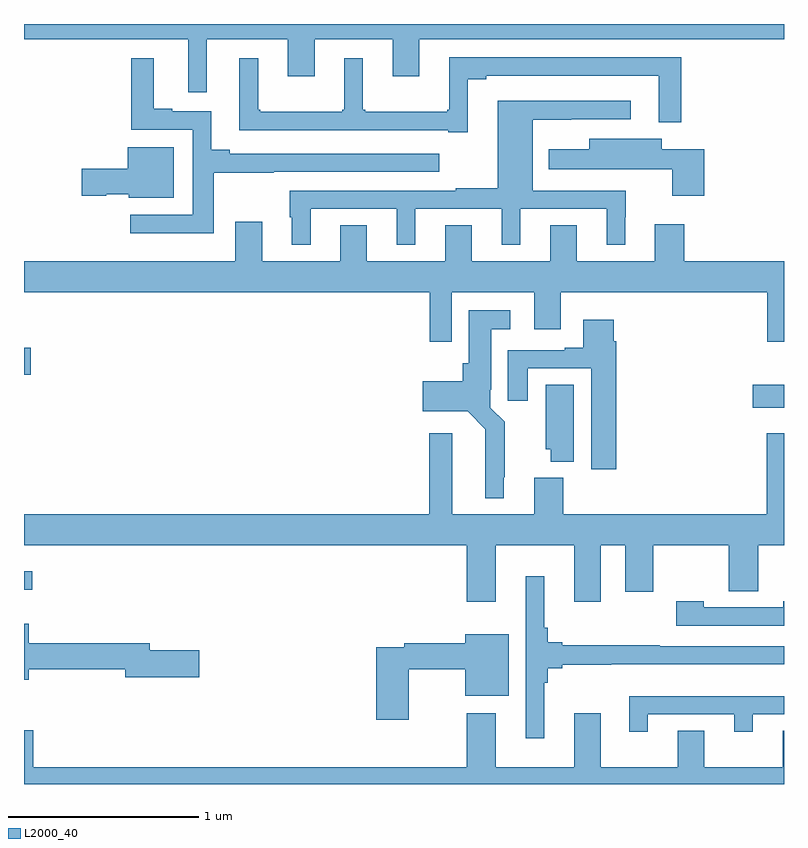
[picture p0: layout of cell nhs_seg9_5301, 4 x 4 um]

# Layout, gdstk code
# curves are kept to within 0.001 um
import gdstk
lib = gdstk.Library(unit=1e-6, precision=1e-09)
def R(c, l, rs):  # rectangles x0, y0, x1, y1
    for r in rs: c.add(gdstk.rectangle(r[:2], r[2:], *l))
def P(c, l, *ps):  # polygons
    for p in ps: c.add(gdstk.Polygon(p, *l))
L2000_40 = (2000, 40)

nhs_seg9_5301 = lib.new_cell('nhs_seg9_5301')
R(nhs_seg9_5301, L2000_40, [(419,1193.523,419.044,1193.62), (422.835,1194.479,423,1194.601), (419,1194.653,419.035,1194.795)])
P(nhs_seg9_5301, L2000_40, [(419.962,1196.42),(420.389,1196.42),(420.389,1196.226),(420.529,1196.226),(420.529,1196.42),(420.941,1196.42),(420.941,1196.226),(421.081,1196.226),(421.081,1196.42),(423,1196.42),(423,1196.5),(419,1196.5),(419,1196.42),(419.864,1196.42),(419.864,1196.142),(419.962,1196.142)],
  [(421.336,1196.209),(421.432,1196.209),(421.432,1196.228),(422.342,1196.228),(422.342,1195.982),(422.459,1195.982),(422.459,1196.325),(421.238,1196.325),(421.238,1196.05),(421.227,1196.05),(421.227,1196.039),(420.796,1196.039),(420.796,1196.05),(420.784,1196.05),(420.784,1196.32),(420.686,1196.32),(420.686,1196.05),(420.675,1196.05),(420.675,1196.039),(420.244,1196.039),(420.244,1196.05),(420.232,1196.05),(420.232,1196.32),(420.134,1196.32),(420.134,1195.941),(421.232,1195.941),(421.232,1195.929),(421.336,1195.929)],
  [(419.998,1195.717),(420.314,1195.717),(420.314,1195.722),(421.186,1195.722),(421.186,1195.818),(420.082,1195.818),(420.082,1195.838),(419.986,1195.838),(419.986,1196.04),(419.779,1196.04),(419.779,1196.053),(419.683,1196.053),(419.683,1196.32),(419.565,1196.32),(419.565,1195.944),(419.889,1195.944),(419.889,1195.497),(419.559,1195.497),(419.559,1195.4),(419.998,1195.4)],
  [(420.508,1195.527),(420.962,1195.527),(420.962,1195.337),(421.06,1195.337),(421.06,1195.527),(421.514,1195.527),(421.514,1195.337),(421.612,1195.337),(421.612,1195.527),(422.066,1195.527),(422.066,1195.337),(422.164,1195.337),(422.164,1195.484),(422.166,1195.484),(422.166,1195.623),(421.678,1195.623),(421.678,1195.997),(421.88,1195.997),(421.88,1195.998),(422.194,1195.998),(422.194,1196.095),(421.493,1196.095),(421.493,1195.636),(421.273,1195.636),(421.273,1195.623),(420.399,1195.623),(420.399,1195.484),(420.41,1195.484),(420.41,1195.337),(420.508,1195.337)],
  [(422.579,1195.84),(422.356,1195.84),(422.356,1195.897),(421.976,1195.897),(421.976,1195.84),(421.763,1195.84),(421.763,1195.736),(422.411,1195.736),(422.411,1195.596),(422.579,1195.596)],
  [(419.788,1195.852),(419.546,1195.852),(419.546,1195.739),(419.304,1195.739),(419.304,1195.597),(419.433,1195.597),(419.433,1195.604),(419.55,1195.604),(419.55,1195.586),(419.788,1195.586)],
  [(421.251,1195.088),(421.685,1195.088),(421.685,1194.894),(421.825,1194.894),(421.825,1195.088),(422.911,1195.088),(422.911,1194.828),(423,1194.828),(423,1195.252),(422.474,1195.252),(422.474,1195.447),(422.321,1195.447),(422.321,1195.252),(421.909,1195.252),(421.909,1195.442),(421.769,1195.442),(421.769,1195.252),(421.357,1195.252),(421.357,1195.442),(421.217,1195.442),(421.217,1195.252),(420.805,1195.252),(420.805,1195.442),(420.665,1195.442),(420.665,1195.252),(420.253,1195.252),(420.253,1195.459),(420.113,1195.459),(420.113,1195.252),(419,1195.252),(419,1195.088),(421.135,1195.088),(421.135,1194.828),(421.251,1194.828)],
  [(421.525,1194.115),(421.529,1194.115),(421.529,1194.406),(421.455,1194.48),(421.455,1194.574),(421.459,1194.574),(421.459,1194.893),(421.558,1194.893),(421.558,1194.994),(421.34,1194.994),(421.34,1194.714),(421.31,1194.714),(421.31,1194.619),(421.098,1194.619),(421.098,1194.461),(421.335,1194.461),(421.428,1194.368),(421.427,1194.005),(421.525,1194.005)],
  [(422.117,1194.83),(422.104,1194.83),(422.104,1194.943),(421.943,1194.943),(421.943,1194.796),(421.847,1194.796),(421.847,1194.783),(421.547,1194.783),(421.547,1194.516),(421.651,1194.516),(421.651,1194.687),(421.985,1194.687),(421.985,1194.156),(422.117,1194.156)],
  [(421.894,1194.602),(421.745,1194.602),(421.745,1194.261),(421.772,1194.261),(421.772,1194.197),(421.894,1194.197)],
  [(421.483,1193.756),(421.895,1193.756),(421.895,1193.46),(422.035,1193.46),(422.035,1193.756),(422.165,1193.756),(422.165,1193.511),(422.313,1193.511),(422.313,1193.756),(422.71,1193.756),(422.71,1193.515),(422.864,1193.515),(422.864,1193.756),(423,1193.756),(423,1194.346),(422.909,1194.346),(422.909,1193.92),(421.838,1193.92),(421.838,1194.112),(421.685,1194.112),(421.685,1193.92),(421.255,1193.92),(421.255,1194.346),(421.133,1194.346),(421.133,1193.92),(419,1193.92),(419,1193.756),(421.331,1193.756),(421.331,1193.46),(421.483,1193.46)],
  [(421.738,1193.033),(421.757,1193.033),(421.757,1193.11),(421.834,1193.11),(421.834,1193.128),(422.09,1193.128),(422.09,1193.129),(423,1193.129),(423,1193.226),(422.345,1193.226),(422.345,1193.231),(422.134,1193.231),(422.134,1193.229),(421.834,1193.229),(421.834,1193.246),(421.757,1193.246),(421.757,1193.323),(421.738,1193.323),(421.738,1193.593),(421.641,1193.593),(421.641,1192.74),(421.738,1192.74)],
  [(423,1193.463),(422.997,1193.463),(422.997,1193.43),(422.577,1193.43),(422.577,1193.463),(422.433,1193.463),(422.433,1193.334),(423,1193.334)],
  [(419.026,1193.104),(419.534,1193.104),(419.534,1193.062),(419.923,1193.062),(419.923,1193.204),(419.662,1193.204),(419.662,1193.24),(419.026,1193.24),(419.026,1193.344),(419,1193.344),(419,1193.048),(419.026,1193.048)],
  [(421.024,1193.104),(421.322,1193.104),(421.322,1192.964),(421.552,1192.964),(421.552,1193.287),(421.322,1193.287),(421.322,1193.24),(421,1193.24),(421,1193.22),(420.854,1193.22),(420.854,1192.839),(421.024,1192.839)],
  [(422.284,1192.866),(422.738,1192.866),(422.738,1192.776),(422.836,1192.776),(422.836,1192.866),(423,1192.866),(423,1192.963),(422.186,1192.963),(422.186,1192.776),(422.284,1192.776)],
  [(423,1192.781),(422.993,1192.781),(422.993,1192.588),(422.581,1192.588),(422.581,1192.781),(422.441,1192.781),(422.441,1192.588),(422.035,1192.588),(422.035,1192.873),(421.895,1192.873),(421.895,1192.588),(421.483,1192.588),(421.483,1192.873),(421.331,1192.873),(421.331,1192.588),(419.048,1192.588),(419.048,1192.783),(419,1192.783),(419,1192.5),(423,1192.5)])

lib.write_gds('nhs_seg9_5301.gds')
